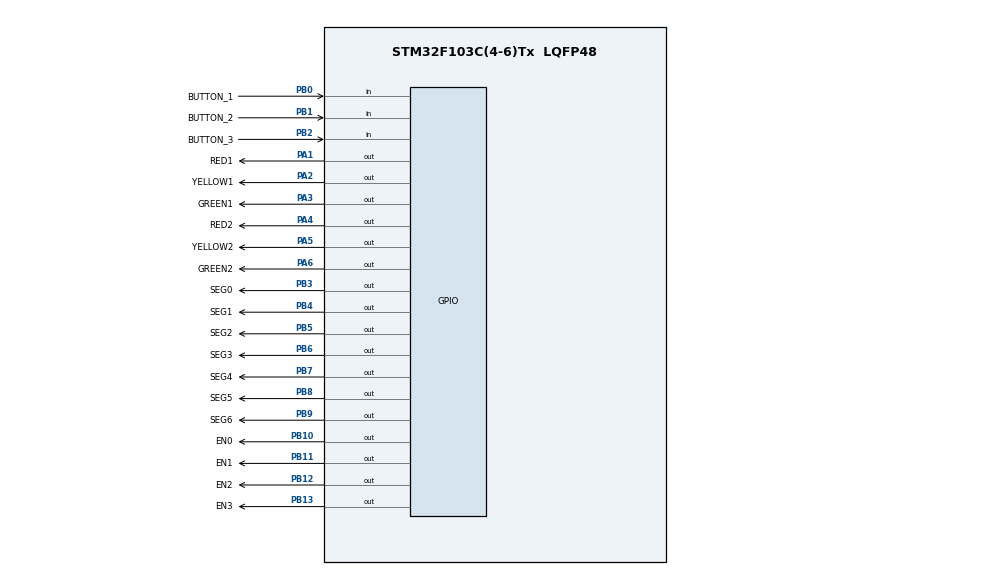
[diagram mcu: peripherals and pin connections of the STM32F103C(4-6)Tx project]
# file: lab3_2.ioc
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Mcu.Family=STM32F1
Mcu.Name=STM32F103C(4-6)Tx
Mcu.Package=LQFP48
NVIC.PriorityGroup=NVIC_PRIORITYGROUP_4
NVIC.TIM2_IRQn=true\:0\:0\:false\:false\:true\:true\:true\:true
PA1.GPIO_Label=RED1
PA1.Signal=GPIO_Output
PA13.Mode=Serial_Wire
PA13.Signal=SYS_JTMS-SWDIO
PA14.Mode=Serial_Wire
PA14.Signal=SYS_JTCK-SWCLK
PA2.GPIO_Label=YELLOW1
PA2.Signal=GPIO_Output
PA3.GPIO_Label=GREEN1
PA3.Signal=GPIO_Output
PA4.GPIO_Label=RED2
PA4.Signal=GPIO_Output
PA5.GPIO_Label=YELLOW2
PA5.Signal=GPIO_Output
PA6.GPIO_Label=GREEN2
PA6.Signal=GPIO_Output
PB0.GPIO_Label=BUTTON_1
PB0.GPIO_PuPd=GPIO_PULLUP
PB0.Signal=GPIO_Input
PB1.GPIO_Label=BUTTON_2
PB1.GPIO_PuPd=GPIO_PULLUP
PB1.Signal=GPIO_Input
PB10.GPIO_Label=EN0
PB10.Signal=GPIO_Output
PB11.GPIO_Label=EN1
PB11.Signal=GPIO_Output
PB12.GPIO_Label=EN2
PB12.Signal=GPIO_Output
PB13.GPIO_Label=EN3
PB13.Signal=GPIO_Output
PB2.GPIO_Label=BUTTON_3
PB2.GPIO_PuPd=GPIO_PULLUP
PB2.Signal=GPIO_Input
PB3.GPIO_Label=SEG0
PB3.Signal=GPIO_Output
PB4.GPIO_Label=SEG1
PB4.Signal=GPIO_Output
PB5.GPIO_Label=SEG2
PB5.Signal=GPIO_Output
PB6.GPIO_Label=SEG3
PB6.Signal=GPIO_Output
PB7.GPIO_Label=SEG4
PB7.Signal=GPIO_Output
PB8.GPIO_Label=SEG5
PB8.Signal=GPIO_Output
PB9.GPIO_Label=SEG6
PB9.Signal=GPIO_Output
ProjectManager.HeapSize=0x200
ProjectManager.StackSize=0x400
ProjectManager.TargetToolchain=STM32CubeIDE
RCC.APB1Freq_Value=8000000
RCC.APB2Freq_Value=8000000
TIM2.Period=9
TIM2.Prescaler=7999
VP_TIM2_VS_ClockSourceINT.Mode=Internal
board=custom

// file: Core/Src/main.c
/* USER CODE BEGIN Header */
/**
  ******************************************************************************
  * @file           : main.c
  * @brief          : Main program body
  ******************************************************************************
  * @attention
  *
  * Copyright (c) 2023 STMicroelectronics.
  * All rights reserved.
  *
  * This software is licensed under terms that can be found in the LICENSE file
  * in the root directory of this software component.
  * If no LICENSE file comes with this software, it is provided AS-IS.
  *
  ******************************************************************************
  */
/* USER CODE END Header */
#include "main.h"

/* USER CODE BEGIN Includes */
#include "timer.h"
#include "fsm_traffic.h"
/* USER CODE END Includes */

TIM_HandleTypeDef htim2;

void SystemClock_Config(void);
static void MX_GPIO_Init(void);
static void MX_TIM2_Init(void);

int main(void)
{

  /* MCU Configuration--------------------------------------------------------*/

  /* Reset of all peripherals, Initializes the Flash interface and the Systick. */
  HAL_Init();

  /* Configure the system clock */
  SystemClock_Config();

  /* Initialize all configured peripherals */
  MX_GPIO_Init();
  MX_TIM2_Init();
  /* USER CODE BEGIN 2 */
  HAL_TIM_Base_Start_IT(&htim2);
  /* USER CODE END 2 */

  /* Infinite loop */
  /* USER CODE BEGIN WHILE */
  init();
  setTimer1(100);
  setTimer2(25);
  setTimer3(10);
  setTimer4(50);
  while (1)
  {
	  if(timer1_flag == 1){
		  run_led_traffic();
		  setTimer1(100);
	  }
	  if(timer4_flag == 1){
		 modify_mode();
		 setTimer4(50);
	  }
	  if(timer2_flag == 1){
		  display_4LED();
		  setTimer2(25);
	  }
	  if(timer3_flag == 1){
		  checkButton();
		  fsm();
		  setTimer3(10);
	  }
    /* USER CODE END WHILE */

  }
}

void SystemClock_Config(void)
{
  RCC_OscInitTypeDef RCC_OscInitStruct = {0};
  RCC_ClkInitTypeDef RCC_ClkInitStruct = {0};

  /** Initializes the RCC Oscillators according to the specified parameters
  * in the RCC_OscInitTypeDef structure.
  */
  RCC_OscInitStruct.OscillatorType = RCC_OSCILLATORTYPE_HSI;
  RCC_OscInitStruct.HSIState = RCC_HSI_ON;
  RCC_OscInitStruct.HSICalibrationValue = RCC_HSICALIBRATION_DEFAULT;
  RCC_OscInitStruct.PLL.PLLState = RCC_PLL_NONE;
  if (HAL_RCC_OscConfig(&RCC_OscInitStruct) != HAL_OK)
  {
    Error_Handler();
  }

  /** Initializes the CPU, AHB and APB buses clocks
  */
  RCC_ClkInitStruct.ClockType = RCC_CLOCKTYPE_HCLK|RCC_CLOCKTYPE_SYSCLK
                              |RCC_CLOCKTYPE_PCLK1|RCC_CLOCKTYPE_PCLK2;
  RCC_ClkInitStruct.SYSCLKSource = RCC_SYSCLKSOURCE_HSI;
  RCC_ClkInitStruct.AHBCLKDivider = RCC_SYSCLK_DIV1;
  RCC_ClkInitStruct.APB1CLKDivider = RCC_HCLK_DIV1;
  RCC_ClkInitStruct.APB2CLKDivider = RCC_HCLK_DIV1;

  if (HAL_RCC_ClockConfig(&RCC_ClkInitStruct, FLASH_LATENCY_0) != HAL_OK)
  {
    Error_Handler();
  }
}

static void MX_TIM2_Init(void)
{

  TIM_ClockConfigTypeDef sClockSourceConfig = {0};
  TIM_MasterConfigTypeDef sMasterConfig = {0};

  htim2.Instance = TIM2;
  htim2.Init.Prescaler = 7999;
  htim2.Init.CounterMode = TIM_COUNTERMODE_UP;
  htim2.Init.Period = 9;
  htim2.Init.ClockDivision = TIM_CLOCKDIVISION_DIV1;
  htim2.Init.AutoReloadPreload = TIM_AUTORELOAD_PRELOAD_DISABLE;
  if (HAL_TIM_Base_Init(&htim2) != HAL_OK)
  {
    Error_Handler();
  }
  sClockSourceConfig.ClockSource = TIM_CLOCKSOURCE_INTERNAL;
  if (HAL_TIM_ConfigClockSource(&htim2, &sClockSourceConfig) != HAL_OK)
  {
    Error_Handler();
  }
  sMasterConfig.MasterOutputTrigger = TIM_TRGO_RESET;
  sMasterConfig.MasterSlaveMode = TIM_MASTERSLAVEMODE_DISABLE;
  if (HAL_TIMEx_MasterConfigSynchronization(&htim2, &sMasterConfig) != HAL_OK)
  {
    Error_Handler();
  }

}

static void MX_GPIO_Init(void)
{
  GPIO_InitTypeDef GPIO_InitStruct = {0};

  /* GPIO Ports Clock Enable */
  __HAL_RCC_GPIOA_CLK_ENABLE();
  __HAL_RCC_GPIOB_CLK_ENABLE();

  /*Configure GPIO pin Output Level */
  HAL_GPIO_WritePin(GPIOA, RED1_Pin|YELLOW1_Pin|GREEN1_Pin|RED2_Pin
                          |YELLOW2_Pin|GREEN2_Pin, GPIO_PIN_RESET);

  /*Configure GPIO pin Output Level */
  HAL_GPIO_WritePin(GPIOB, EN0_Pin|EN1_Pin|EN2_Pin|EN3_Pin
                          |SEG0_Pin|SEG1_Pin|SEG2_Pin|SEG3_Pin
                          |SEG4_Pin|SEG5_Pin|SEG6_Pin, GPIO_PIN_RESET);

  /*Configure GPIO pins : RED1_Pin YELLOW1_Pin GREEN1_Pin RED2_Pin
                           YELLOW2_Pin GREEN2_Pin */
  GPIO_InitStruct.Pin = RED1_Pin|YELLOW1_Pin|GREEN1_Pin|RED2_Pin
                          |YELLOW2_Pin|GREEN2_Pin;
  GPIO_InitStruct.Mode = GPIO_MODE_OUTPUT_PP;
  GPIO_InitStruct.Pull = GPIO_NOPULL;
  GPIO_InitStruct.Speed = GPIO_SPEED_FREQ_LOW;
  HAL_GPIO_Init(GPIOA, &GPIO_InitStruct);

  /*Configure GPIO pins : BUTTON_1_Pin BUTTON_2_Pin BUTTON_3_Pin */
  GPIO_InitStruct.Pin = BUTTON_1_Pin|BUTTON_2_Pin|BUTTON_3_Pin;
  GPIO_InitStruct.Mode = GPIO_MODE_INPUT;
  GPIO_InitStruct.Pull = GPIO_PULLUP;
  HAL_GPIO_Init(GPIOB, &GPIO_InitStruct);

  /*Configure GPIO pins : EN0_Pin EN1_Pin EN2_Pin EN3_Pin
                           SEG0_Pin SEG1_Pin SEG2_Pin SEG3_Pin
                           SEG4_Pin SEG5_Pin SEG6_Pin */
  GPIO_InitStruct.Pin = EN0_Pin|EN1_Pin|EN2_Pin|EN3_Pin
                          |SEG0_Pin|SEG1_Pin|SEG2_Pin|SEG3_Pin
                          |SEG4_Pin|SEG5_Pin|SEG6_Pin;
  GPIO_InitStruct.Mode = GPIO_MODE_OUTPUT_PP;
  GPIO_InitStruct.Pull = GPIO_NOPULL;
  GPIO_InitStruct.Speed = GPIO_SPEED_FREQ_LOW;
  HAL_GPIO_Init(GPIOB, &GPIO_InitStruct);

}

/* USER CODE BEGIN 4 */
int counter = 100;
void HAL_TIM_PeriodElapsedCallback(TIM_HandleTypeDef *htim)
{
	timerRun();
	button_reading();
}
/* USER CODE END 4 */

void Error_Handler(void)
{
  __disable_irq();
  while (1)
  {
  }
}
